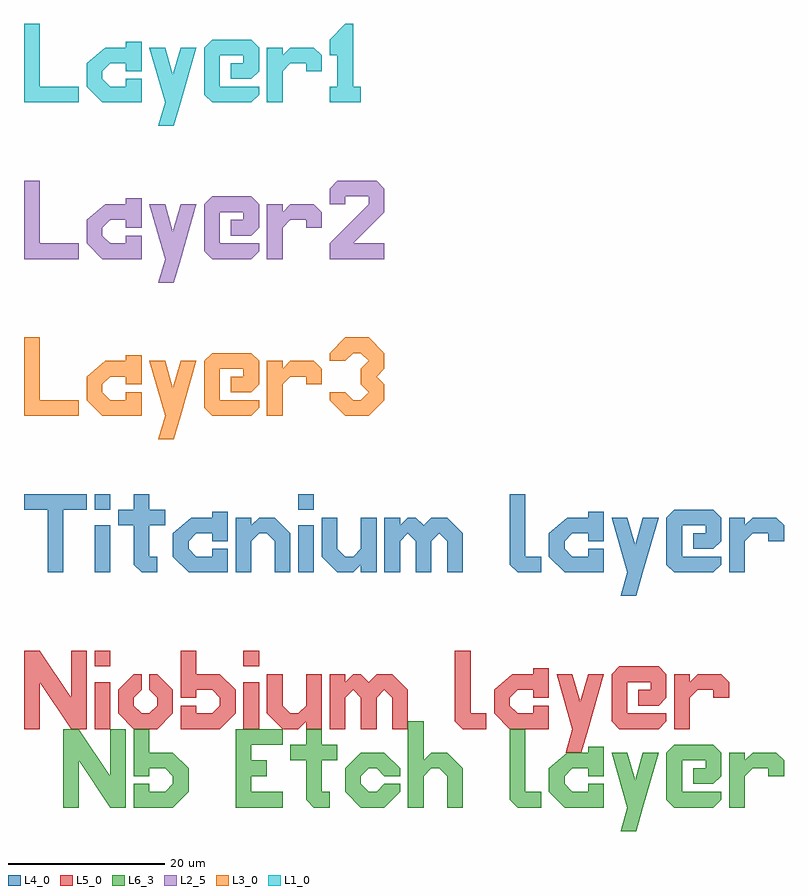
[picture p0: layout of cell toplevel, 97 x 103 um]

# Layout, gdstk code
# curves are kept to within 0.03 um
import gdstk
lib = gdstk.Library(unit=1e-6, precision=1e-09)
def P(c, l, *ps):  # polygons
    for p in ps: c.add(gdstk.Polygon(p, *l))
L1_0 = (1, 0)
L2_5 = (2, 5)
L3_0 = (3, 0)
L4_0 = (4, 0)
L5_0 = (5, 0)
L6_3 = (6, 3)

textline000391 = lib.new_cell('textline000391')
P(textline000391, L1_0, [(1,10),(3,10),(3,2),(8,2),(8,0),(1,0),(1,10)],
  [(16,0),(11,0),(9,2),(9,5),(11.34,7),(14,7),(14,7.75),(16,7.75),(16,4),(14,4),(14,5),(12,5),(11,4),(11,3),(12,2),(14,2),(14,3),(16,3)],
  [(18.14,-3),(19,0),(17,7),(19,7),(20,3.5),(21,7),(23,7),(21,0),(20.14,-3),(18.14,-3)],
  [(25,0),(24,1),(24,7),(25,8),(30,8),(31,7),(31,4),(30,3),(27.4,3),(27.4,5),(29,5),(29,6),(26,6),(26,2),(31,2),(31,1),(30,0)],
  [(37,4),(37,5),(35,5),(34,4),(34,0),(32,0),(32,7),(34,7),(34,6),(35,7),(38,7),(39,6),(39,4)],
  [(41,6),(40,6),(40,8),(42,10),(43,10),(43,2),(44,2),(44,0),(40,0),(40,2),(41,2)])

text000390 = lib.new_cell('text000390')
text000390.add(gdstk.Reference(textline000391, (0,0)))

textline000393 = lib.new_cell('textline000393')
P(textline000393, L2_5, [(1,10),(3,10),(3,2),(8,2),(8,0),(1,0),(1,10)],
  [(16,0),(11,0),(9,2),(9,5),(11.34,7),(14,7),(14,7.75),(16,7.75),(16,4),(14,4),(14,5),(12,5),(11,4),(11,3),(12,2),(14,2),(14,3),(16,3)],
  [(18.14,-3),(19,0),(17,7),(19,7),(20,3.5),(21,7),(23,7),(21,0),(20.14,-3),(18.14,-3)],
  [(25,0),(24,1),(24,7),(25,8),(30,8),(31,7),(31,4),(30,3),(27.4,3),(27.4,5),(29,5),(29,6),(26,6),(26,2),(31,2),(31,1),(30,0)],
  [(37,4),(37,5),(35,5),(34,4),(34,0),(32,0),(32,7),(34,7),(34,6),(35,7),(38,7),(39,6),(39,4)],
  [(40,9),(41,10),(46,10),(47,9),(47,6),(43,2),(47,2),(47,0),(40,0),(40,2),(45,7),(45,8),(42,8),(42,7),(40,7)])

text000392 = lib.new_cell('text000392')
text000392.add(gdstk.Reference(textline000393, (0,0)))

textline000395 = lib.new_cell('textline000395')
P(textline000395, L3_0, [(1,10),(3,10),(3,2),(8,2),(8,0),(1,0),(1,10)],
  [(16,0),(11,0),(9,2),(9,5),(11.34,7),(14,7),(14,7.75),(16,7.75),(16,4),(14,4),(14,5),(12,5),(11,4),(11,3),(12,2),(14,2),(14,3),(16,3)],
  [(18.14,-3),(19,0),(17,7),(19,7),(20,3.5),(21,7),(23,7),(21,0),(20.14,-3),(18.14,-3)],
  [(25,0),(24,1),(24,7),(25,8),(30,8),(31,7),(31,4),(30,3),(27.4,3),(27.4,5),(29,5),(29,6),(26,6),(26,2),(31,2),(31,1),(30,0)],
  [(37,4),(37,5),(35,5),(34,4),(34,0),(32,0),(32,7),(34,7),(34,6),(35,7),(38,7),(39,6),(39,4)],
  [(45,10),(47,8),(47,6),(46,5),(47,4),(47,2),(45,0),(42,0),(40,2),(40,3),(42,3),(43,2),(44,2),(45,3),(44,4),(44,6),(45,7),(44,8),(43,8),(42,7),(40,7),(40,8),(42,10)])

text000394 = lib.new_cell('text000394')
text000394.add(gdstk.Reference(textline000395, (0,0)))

textline000397 = lib.new_cell('textline000397')
P(textline000397, L4_0, [(9,10),(9,8),(6,8),(6,0),(4,0),(4,8),(1,8),(1,10),(9,10)],
  [(10,0),(10,6),(12,6),(12,0),(10,0)],
  [(12,10),(12,8),(10,8),(10,10),(12,10)],
  [(18,0),(16,0),(15,1),(15,6),(13,6),(13,8),(15,8),(15,10),(17,10),(17,8),(19,8),(19,6),(17,6),(17,2),(18,2)],
  [(27,0),(22,0),(20,2),(20,5),(22.34,7),(25,7),(25,7.75),(27,7.75),(27,4),(25,4),(25,5),(23,5),(22,4),(22,3),(23,2),(25,2),(25,3),(27,3)],
  [(33,0),(33,4),(32,5),(31,5),(30,4),(30,0),(28,0),(28,7),(30,7),(30,6),(31,7),(33,7),(35,5),(35,0)],
  [(36,0),(36,6),(38,6),(38,0),(36,0)],
  [(38,10),(38,8),(36,8),(36,10),(38,10)],
  [(41,7),(41,3),(42,2),(43,2),(44,3),(44,7),(46,7),(46,0),(44,0),(44,1),(43,0),(41,0),(39,2),(39,7)],
  [(51,4),(50,5),(49,4),(49,0),(47,0),(47,7),(49,7),(49,6),(50,7),(51,7),(52,6),(53,7),(55,7),(57,5),(57,0),(55,0),(55,4),(54,5),(53,4),(53,0),(51,0)],
  [(67,0),(64,0),(63,1),(63,10),(65,10),(65,2),(67,2),(67,0)],
  [(75,0),(70,0),(68,2),(68,5),(70.34,7),(73,7),(73,7.75),(75,7.75),(75,4),(73,4),(73,5),(71,5),(70,4),(70,3),(71,2),(73,2),(73,3),(75,3)],
  [(77.14,-3),(78,0),(76,7),(78,7),(79,3.5),(80,7),(82,7),(80,0),(79.14,-3),(77.14,-3)],
  [(84,0),(83,1),(83,7),(84,8),(89,8),(90,7),(90,4),(89,3),(86.4,3),(86.4,5),(88,5),(88,6),(85,6),(85,2),(90,2),(90,1),(89,0)],
  [(96,4),(96,5),(94,5),(93,4),(93,0),(91,0),(91,7),(93,7),(93,6),(94,7),(97,7),(98,6),(98,4)])

text000396 = lib.new_cell('text000396')
text000396.add(gdstk.Reference(textline000397, (0,0)))

textline000399 = lib.new_cell('textline000399')
P(textline000399, L5_0, [(1,10),(3,10),(7,4),(7,10),(9,10),(9,0),(7,0),(3,6),(3,0),(1,0),(1,10)],
  [(10,0),(10,6),(12,6),(12,0),(10,0)],
  [(12,10),(12,8),(10,8),(10,10),(12,10)],
  [(18,7),(20,5),(20,2),(18,0),(15,0),(13,2),(13,5),(15,7),(16,7),(16,5),(15,4),(15,3),(16,2),(17,2),(18,3),(18,4),(17,5),(17,7)],
  [(21,3),(23,3),(23,2),(25,2),(26,3),(26,4),(25,5),(23,5),(23,4),(21,4),(21,10),(23,10),(23,7),(26,7),(28,5),(28,2),(26,0),(21,0)],
  [(29,0),(29,6),(31,6),(31,0),(29,0)],
  [(31,10),(31,8),(29,8),(29,10),(31,10)],
  [(34,7),(34,3),(35,2),(36,2),(37,3),(37,7),(39,7),(39,0),(37,0),(37,1),(36,0),(34,0),(32,2),(32,7)],
  [(44,4),(43,5),(42,4),(42,0),(40,0),(40,7),(42,7),(42,6),(43,7),(44,7),(45,6),(46,7),(48,7),(50,5),(50,0),(48,0),(48,4),(47,5),(46,4),(46,0),(44,0)],
  [(60,0),(57,0),(56,1),(56,10),(58,10),(58,2),(60,2),(60,0)],
  [(68,0),(63,0),(61,2),(61,5),(63.34,7),(66,7),(66,7.75),(68,7.75),(68,4),(66,4),(66,5),(64,5),(63,4),(63,3),(64,2),(66,2),(66,3),(68,3)],
  [(70.14,-3),(71,0),(69,7),(71,7),(72,3.5),(73,7),(75,7),(73,0),(72.14,-3),(70.14,-3)],
  [(77,0),(76,1),(76,7),(77,8),(82,8),(83,7),(83,4),(82,3),(79.4,3),(79.4,5),(81,5),(81,6),(78,6),(78,2),(83,2),(83,1),(82,0)],
  [(89,4),(89,5),(87,5),(86,4),(86,0),(84,0),(84,7),(86,7),(86,6),(87,7),(90,7),(91,6),(91,4)])

text000398 = lib.new_cell('text000398')
text000398.add(gdstk.Reference(textline000399, (0,0)))

textline000401 = lib.new_cell('textline000401')
P(textline000401, L6_3, [(1,10),(3,10),(7,4),(7,10),(9,10),(9,0),(7,0),(3,6),(3,0),(1,0),(1,10)],
  [(10,3),(12,3),(12,2),(14,2),(15,3),(15,4),(14,5),(12,5),(12,4),(10,4),(10,10),(12,10),(12,7),(15,7),(17,5),(17,2),(15,0),(10,0)],
  [(29,10),(29,8),(25,8),(25,6),(27,6),(27,4),(25,4),(25,2),(29,2),(29,0),(23,0),(23,10),(29,10)],
  [(35,0),(33,0),(32,1),(32,6),(30,6),(30,8),(32,8),(32,10),(34,10),(34,8),(36,8),(36,6),(34,6),(34,2),(35,2)],
  [(44,2),(42,0),(39,0),(37,2),(37,5),(39,7),(42,7),(44,5),(44,4),(42,4),(41,5),(40,5),(39,4),(39,3),(40,2),(41,2),(42,3),(44,3)],
  [(50,0),(50,4),(49,5),(48,5),(47,4),(47,0),(45,0),(45,11),(47,11),(47,6),(48,7),(50,7),(52,5),(52,0)],
  [(62,0),(59,0),(58,1),(58,10),(60,10),(60,2),(62,2),(62,0)],
  [(70,0),(65,0),(63,2),(63,5),(65.34,7),(68,7),(68,7.75),(70,7.75),(70,4),(68,4),(68,5),(66,5),(65,4),(65,3),(66,2),(68,2),(68,3),(70,3)],
  [(72.14,-3),(73,0),(71,7),(73,7),(74,3.5),(75,7),(77,7),(75,0),(74.14,-3),(72.14,-3)],
  [(79,0),(78,1),(78,7),(79,8),(84,8),(85,7),(85,4),(84,3),(81.4,3),(81.4,5),(83,5),(83,6),(80,6),(80,2),(85,2),(85,1),(84,0)],
  [(91,4),(91,5),(89,5),(88,4),(88,0),(86,0),(86,7),(88,7),(88,6),(89,7),(92,7),(93,6),(93,4)])

text000400 = lib.new_cell('text000400')
text000400.add(gdstk.Reference(textline000401, (0,0)))

toplevel = lib.new_cell('toplevel')
toplevel.add(gdstk.Reference(text000390, (0,0)))
toplevel.add(gdstk.Reference(text000392, (0,-20)))
toplevel.add(gdstk.Reference(text000394, (0,-40)))
toplevel.add(gdstk.Reference(text000396, (0,-60)))
toplevel.add(gdstk.Reference(text000398, (0,-80)))
toplevel.add(gdstk.Reference(text000400, (5,-90)))

lib.write_gds('toplevel.gds')
